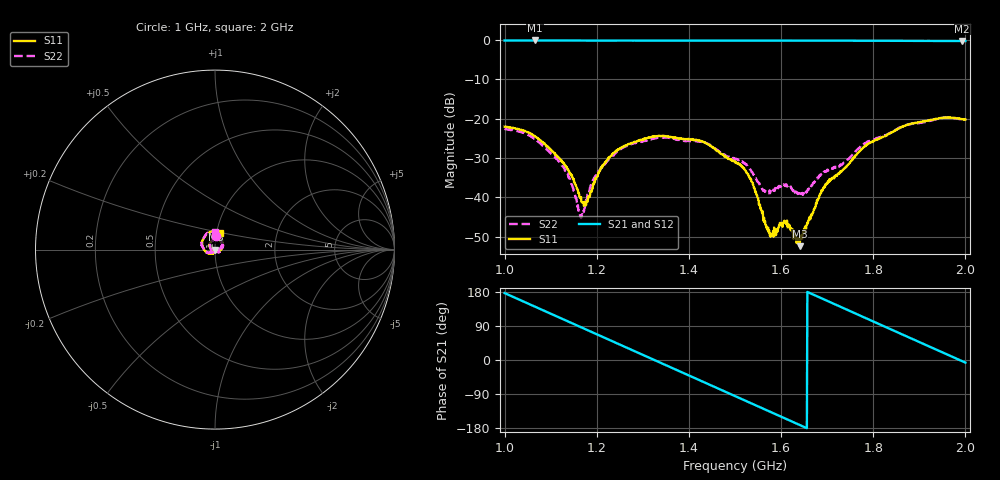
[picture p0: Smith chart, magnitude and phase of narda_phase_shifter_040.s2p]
#  HZ  S  DB  R  50.00
! Rohde & Schwarz Vector Network Analyzer
! Rohde-Schwarz,ZNB8-4Port,1311601044102961,2.82
! Created: UTC 3/4/2022, 4:04:52 PM
! freq[Hz]  db:S11  ang:S11  db:S21  ang:S21  db:S12  ang:S12  db:S22  ang:S22
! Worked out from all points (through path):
!   1001 points, 1 GHz to 2 GHz, reference 50 ohm
!   highest |S21| = -0.16 dB at 1.066 GHz (marker M1); lowest = -0.3 dB at 1.993 GHz (marker M2)
!   group delay of S21, straight-line fit = 1.51 ns
!   lowest |S11| = -52.4 dB at 1.64 GHz (marker M3), VSWR 1.00, Z = 50.2 - j0.116 ohm
!   |S11| at or under -10 dB: start of sweep to end of sweep
!   |S22| runs from -45.3 to -19.7 dB; largest |S21 - S12| = 0.003
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1e9  -22.04 84.2  -0.18 176.6  -0.17 176.6  -22.65 83.8
1.066e9  -24.53 44.4  -0.16 140.7  -0.15 140.7  -25.24 47.5
1.132e9  -31.96 -3.0  -0.17 104.8  -0.17 104.8  -33.06 -0.3
1.167e9  -41.23 -75.5  -0.18 85.7  -0.18 85.7  -44.74 -87.4
1.18e9  -41.11 -132.6  -0.20 78.7  -0.19 78.7  -39.31 -142.8
1.195e9  -36.29 -178.2  -0.20 70.6  -0.19 70.7  -35.19 -167.6
1.231e9  -29.44 151.7  -0.20 51.1  -0.19 51.1  -29.93 148.9
1.284e9  -25.98 112.6  -0.19 22.3  -0.19 22.3  -26.26 115.8
1.334e9  -24.44 84.8  -0.20 -4.9  -0.20 -4.9  -24.86 85.1
1.427e9  -25.72 31.4  -0.20 -55.3  -0.20 -55.4  -25.95 30.2
1.5e9  -30.91 -11.0  -0.19 -95.0  -0.19 -95.0  -30.37 -18.7
1.533e9  -35.13 -31.3  -0.20 -113.0  -0.19 -112.9  -32.89 -37.6
1.576e9  -49.79 -50.1  -0.19 -136.4  -0.20 -136.3  -38.97 -90.9
1.609e9  -46.35 -49.8  -0.21 -154.3  -0.20 -154.3  -37.17 -99.7
1.64e9  -52.43 -28.8  -0.21 -171.2  -0.20 -171.2  -39.45 -118.6
1.667e9  -44.56 -44.0  -0.22 174.1  -0.21 174.2  -36.97 -134.3
1.696e9  -36.82 -87.3  -0.21 158.4  -0.21 158.4  -33.40 -132.5
1.758e9  -29.97 -132.4  -0.23 124.6  -0.22 124.6  -28.76 -152.0
1.834e9  -23.88 175.6  -0.25 83.2  -0.25 83.2  -23.81 174.1
1.921e9  -20.47 123.7  -0.28 36.0  -0.27 36.0  -20.70 129.6
1.993e9  -20.15 78.8  -0.31 -3.1  -0.29 -3.1  -20.22 93.3
2e9  -20.27 74.3  -0.30 -6.9  -0.29 -6.9  -20.31 89.6
